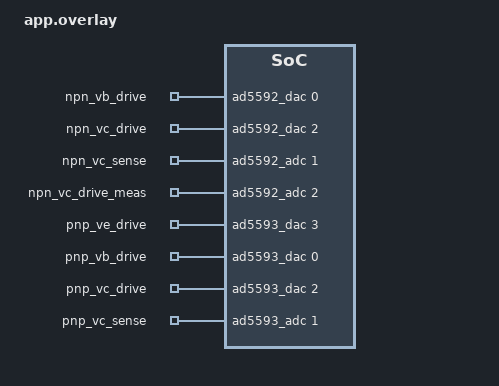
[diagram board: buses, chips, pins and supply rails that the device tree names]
/*
 * Copyright (c) 2026 Analog Devices, Inc
 *
 * SPDX-License-Identifier: Apache-2.0
 */

/ {
	zephyr,user {
		io-channels = <&ad5592_dac 0>, <&ad5592_dac 2>,
			      <&ad5592_adc 1>, <&ad5592_adc 2>,
			      <&ad5593_dac 3>, <&ad5593_dac 0>, <&ad5593_dac 2>,
			      <&ad5593_adc 1>, <&ad5593_adc 2>;
		io-channel-names = "npn_vb_drive", "npn_vc_drive",
				   "npn_vc_sense", "npn_vc_drive_meas",
				   "pnp_ve_drive", "pnp_vb_drive", "pnp_vc_drive",
				   "pnp_vc_sense", "pnp_vc_drive_meas";
	};
};
